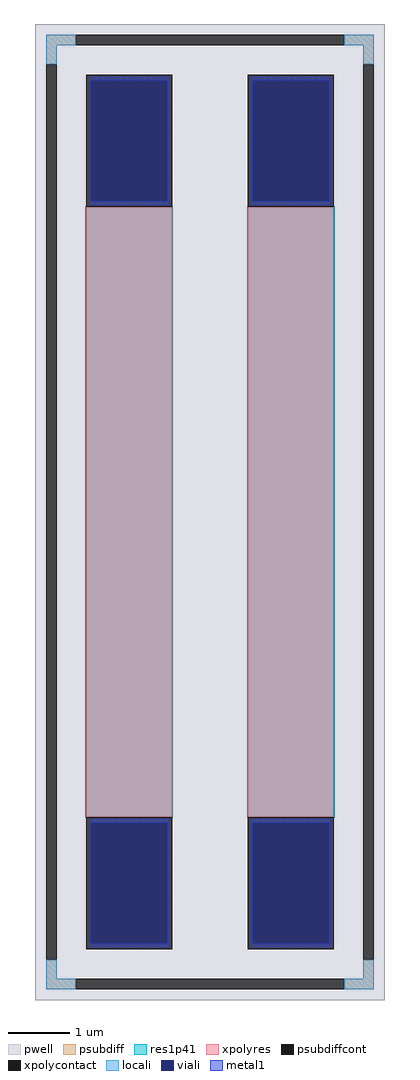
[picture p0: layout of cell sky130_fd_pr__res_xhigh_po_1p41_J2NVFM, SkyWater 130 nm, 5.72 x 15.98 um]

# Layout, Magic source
magic
tech sky130A
magscale 1 2
<< pwell >>
rect -572 -1598 572 1598
<< psubdiff >>
rect -536 1528 -440 1562
rect 440 1528 536 1562
rect -536 1466 -502 1528
rect 502 1466 536 1528
rect -536 -1528 -502 -1466
rect 502 -1528 536 -1466
rect -536 -1562 -440 -1528
rect 440 -1562 536 -1528
<< psubdiffcont >>
rect -440 1528 440 1562
rect -536 -1466 -502 1466
rect 502 -1466 536 1466
rect -440 -1562 440 -1528
<< xpolycontact >>
rect -406 1000 -124 1432
rect -406 -1432 -124 -1000
rect 124 1000 406 1432
rect 124 -1432 406 -1000
<< xpolyres >>
rect -406 -1000 -124 1000
rect 124 -1000 406 1000
<< locali >>
rect -536 1528 -440 1562
rect 440 1528 536 1562
rect -536 1466 -502 1528
rect 502 1466 536 1528
rect -536 -1528 -502 -1466
rect 502 -1528 536 -1466
rect -536 -1562 -440 -1528
rect 440 -1562 536 -1528
<< viali >>
rect -390 1017 -140 1414
rect 140 1017 390 1414
rect -390 -1414 -140 -1017
rect 140 -1414 390 -1017
<< metal1 >>
rect -396 1414 -134 1426
rect -396 1017 -390 1414
rect -140 1017 -134 1414
rect -396 1005 -134 1017
rect 134 1414 396 1426
rect 134 1017 140 1414
rect 390 1017 396 1414
rect 134 1005 396 1017
rect -396 -1017 -134 -1005
rect -396 -1414 -390 -1017
rect -140 -1414 -134 -1017
rect -396 -1426 -134 -1414
rect 134 -1017 396 -1005
rect 134 -1414 140 -1017
rect 390 -1414 396 -1017
rect 134 -1426 396 -1414
<< res1p41 >>
rect -408 -1002 -122 1002
rect 122 -1002 408 1002
<< properties >>
string FIXED_BBOX -519 -1545 519 1545
string gencell sky130_fd_pr__res_xhigh_po_1p41
string library sky130
string parameters w 1.410 l 10 m 1 nx 2 wmin 1.410 lmin 0.50 rho 2000 val 14.451k dummy 0 dw 0.0 term 188.2 sterm 0.0 caplen 0 wmax 1.410 guard 1 glc 1 grc 1 gtc 1 gbc 1 compatible {sky130_fd_pr__res_xhigh_po_0p35  sky130_fd_pr__res_xhigh_po_0p69 sky130_fd_pr__res_xhigh_po_1p41  sky130_fd_pr__res_xhigh_po_2p85 sky130_fd_pr__res_xhigh_po_5p73} full_metal 1 n_guard 0 hv_guard 0 vias 1 viagb 0 viagt 0 viagl 0 viagr 0
<< end >>
